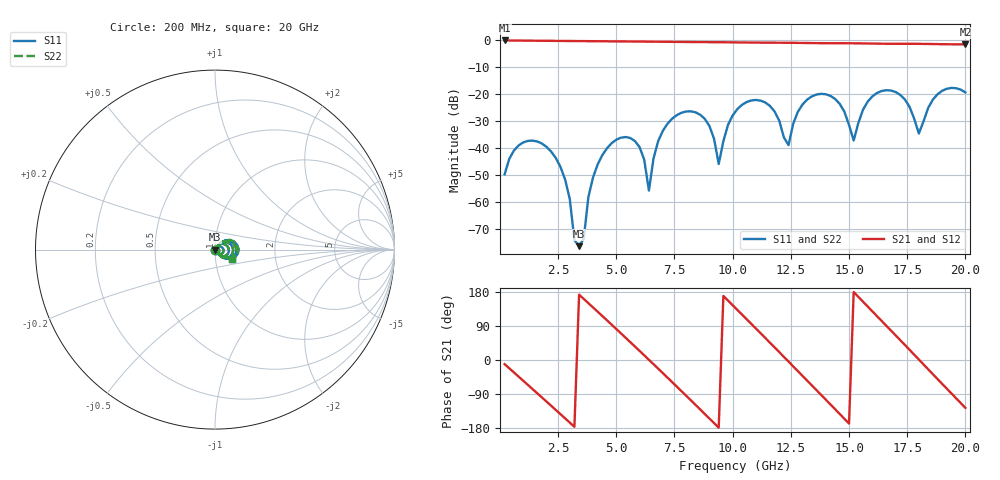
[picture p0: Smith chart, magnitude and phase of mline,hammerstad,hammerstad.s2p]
# HZ S RI R 50
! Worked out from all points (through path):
!   100 points, 200 MHz to 20 GHz, reference 50 ohm
!   highest |S21| = -0.02 dB at 200 MHz (marker M1); lowest = -1.5 dB at 20 GHz (marker M2)
!   group delay of S21, straight-line fit = 169 ps
!   lowest |S11| = -76.6 dB at 3.4 GHz (marker M3), VSWR 1.00, Z = 50 - j0.014 ohm
!   |S11| at or under -10 dB: start of sweep to end of sweep
!   |S22| runs from -76.6 to -17.7 dB; largest |S21 - S12| = 0
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2e8  -0.000645 -0.00316  0.9798 -0.1894  0.9798 -0.1894  -0.000645 -0.00316
2e9  -0.00989 0.00347  -0.3316 -0.9253  -0.3316 -0.9253  -0.00989 0.00347
2.8e9  -0.00124 0.00227  -0.878 -0.4275  -0.878 -0.4275  -0.00124 0.00227
3.4e9  -5.02e-05 -0.00014  -0.9634 0.1276  -0.9634 0.1276  -5.02e-05 -0.00014
3.6e9  8.28e-05 0.000187  -0.9186 0.3122  -0.9186 0.3122  8.28e-05 0.000187
4e9  0.00196 0.00206  -0.7264 0.6384  -0.7264 0.6384  0.00196 0.00206
4.6e9  0.00958 0.0024  -0.2431 0.9311  -0.2431 0.9311  0.00958 0.0024
5.8e9  0.00854 -0.0104  0.7747 0.555  0.7747 0.555  0.00854 -0.0104
6.4e9  0.00158 -0.000307  0.9484 0.0103  0.9484 0.0103  0.00158 -0.000307
6.8e9  0.00681 0.0116  0.8709 -0.3676  0.8709 -0.3676  0.00681 0.0116
8.2e9  0.0463 -0.0124  -0.2596 -0.8968  -0.2596 -0.8968  0.0463 -0.0124
9.4e9  0.00487 -0.00126  -0.9254 -0.0201  -0.9254 -0.0201  0.00487 -0.00126
1.02e10  0.0416 0.0323  -0.6173 0.68  -0.6173 0.68  0.0416 0.0323
1.1e10  0.0775 -0.00865  0.111 0.9042  0.111 0.9042  0.0775 -0.00865
1.2e10  0.0186 -0.0263  0.8461 0.3236  0.8461 0.3236  0.0186 -0.0263
1.24e10  0.00962 0.00587  0.901 -0.0651  0.901 -0.0651  0.00962 0.00587
1.34e10  0.0851 0.0316  0.3496 -0.821  0.3496 -0.821  0.0851 0.0316
1.44e10  0.0675 -0.0458  -0.5662 -0.6813  -0.5662 -0.6813  0.0675 -0.0458
1.52e10  0.0137 0.000898  -0.8829 0.00818  -0.8829 0.00818  0.0137 0.000898
1.68e10  0.115 -0.0212  0.1819 0.8463  0.1819 0.8463  0.115 -0.0212
1.82e10  0.023 0.0212  0.8437 -0.1733  0.8437 -0.1733  0.023 0.0212
2e10  0.0937 -0.0532  -0.5009 -0.6797  -0.5009 -0.6797  0.0937 -0.0532
